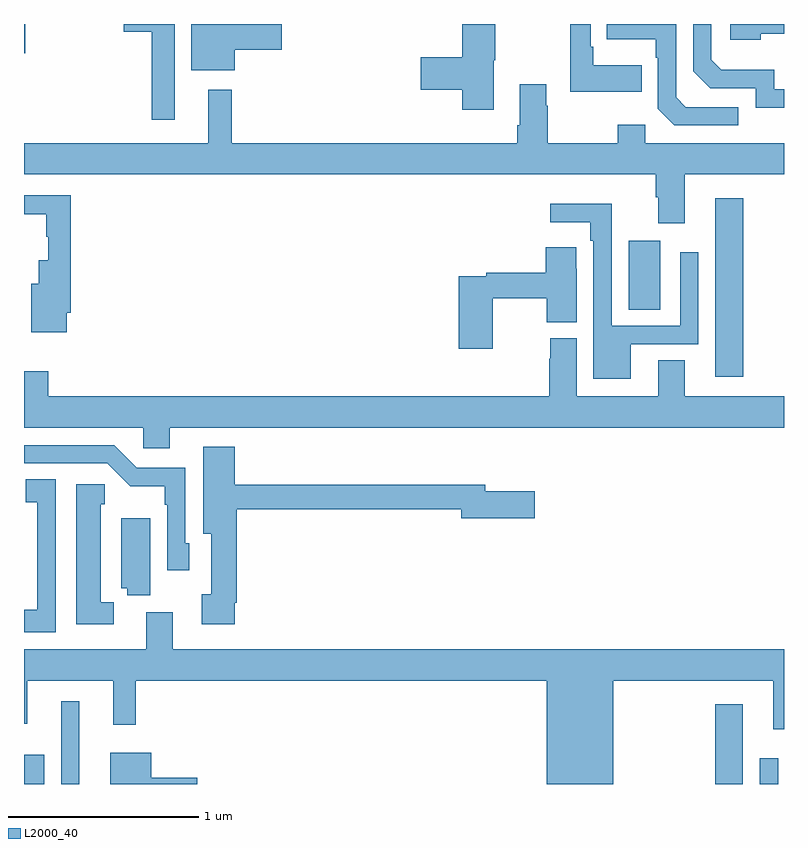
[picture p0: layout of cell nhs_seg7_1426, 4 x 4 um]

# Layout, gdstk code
import gdstk
lib = gdstk.Library(unit=1e-6, precision=1e-09)
def R(c, l, rs):  # rectangles x0, y0, x1, y1
    for r in rs: c.add(gdstk.rectangle(r[:2], r[2:], *l))
def P(c, l, *ps):  # polygons
    for p in ps: c.add(gdstk.Polygon(p, *l))
L2000_40 = (2000, 40)

nhs_seg7_1426 = lib.new_cell('nhs_seg7_1426')
R(nhs_seg7_1426, L2000_40, [(207,1072,207.106,1072.153), (207.195,1072,207.292,1072.435), (210.638,1072,210.784,1072.42), (210.873,1072,210.969,1072.135), (210.638,1074.144,210.785,1075.084), (210.182,1074.496,210.349,1074.859), (207,1075.846,207.007,1076)])
P(nhs_seg7_1426, L2000_40, [(208.108,1075.864),(208.357,1075.864),(208.357,1076),(207.881,1076),(207.881,1075.757),(208.108,1075.757)],
  [(207.793,1076),(207.524,1076),(207.524,1075.958),(207.672,1075.958),(207.672,1075.497),(207.793,1075.497)],
  [(211,1075.656),(210.948,1075.656),(210.948,1075.759),(210.671,1075.759),(210.618,1075.812),(210.618,1076),(210.522,1076),(210.522,1075.752),(210.612,1075.662),(210.852,1075.662),(210.852,1075.56),(211,1075.56)],
  [(210.878,1075.95),(211,1075.95),(211,1076),(210.717,1076),(210.717,1075.916),(210.878,1075.916)],
  [(210.251,1075.783),(209.995,1075.783),(209.995,1075.879),(209.982,1075.879),(209.982,1076),(209.874,1076),(209.874,1075.643),(210.251,1075.643)],
  [(210.76,1075.563),(210.483,1075.563),(210.432,1075.614),(210.432,1076),(210.067,1076),(210.067,1075.919),(210.324,1075.919),(210.324,1075.823),(210.336,1075.823),(210.336,1075.554),(210.423,1075.467),(210.76,1075.467)],
  [(209.473,1075.809),(209.481,1075.809),(209.481,1076),(209.306,1076),(209.306,1075.826),(209.088,1075.826),(209.088,1075.655),(209.306,1075.655),(209.306,1075.548),(209.473,1075.548)],
  [(210.478,1075.208),(211,1075.208),(211,1075.372),(210.27,1075.372),(210.27,1075.471),(210.124,1075.471),(210.124,1075.372),(209.757,1075.372),(209.757,1075.571),(209.749,1075.571),(209.749,1075.684),(209.609,1075.684),(209.609,1075.468),(209.597,1075.468),(209.597,1075.372),(208.093,1075.372),(208.093,1075.654),(207.971,1075.654),(207.971,1075.372),(207,1075.372),(207,1075.208),(210.326,1075.208),(210.326,1075.088),(210.338,1075.088),(210.338,1074.951),(210.478,1074.951)],
  [(207.226,1074.481),(207.245,1074.481),(207.245,1075.098),(207,1075.098),(207,1075),(207.117,1075),(207.117,1074.879),(207.128,1074.879),(207.128,1074.757),(207.077,1074.757),(207.077,1074.634),(207.038,1074.634),(207.038,1074.377),(207.226,1074.377)],
  [(210.193,1074.315),(210.549,1074.315),(210.549,1074.799),(210.453,1074.799),(210.453,1074.411),(210.093,1074.411),(210.093,1075.054),(209.769,1075.054),(209.769,1074.956),(209.981,1074.956),(209.981,1074.86),(209.997,1074.86),(209.997,1074.134),(210.193,1074.134)],
  [(209.466,1074.556),(209.752,1074.556),(209.752,1074.43),(209.908,1074.43),(209.908,1074.713),(209.907,1074.713),(209.907,1074.826),(209.747,1074.826),(209.747,1074.692),(209.434,1074.692),(209.434,1074.672),(209.288,1074.672),(209.288,1074.291),(209.466,1074.291)],
  [(207.766,1073.876),(211,1073.876),(211,1074.04),(210.478,1074.04),(210.478,1074.23),(210.338,1074.23),(210.338,1074.04),(209.908,1074.04),(209.908,1074.345),(209.77,1074.345),(209.77,1074.239),(209.765,1074.239),(209.765,1074.04),(207.128,1074.04),(207.128,1074.172),(207,1074.172),(207,1073.876),(207.627,1073.876),(207.627,1073.766),(207.766,1073.766)],
  [(207.87,1073.268),(207.849,1073.268),(207.849,1073.664),(207.594,1073.664),(207.474,1073.784),(207,1073.784),(207,1073.688),(207.438,1073.688),(207.559,1073.567),(207.741,1073.567),(207.741,1073.471),(207.753,1073.471),(207.753,1073.124),(207.87,1073.124)],
  [(208.108,1072.954),(208.121,1072.954),(208.121,1073.446),(209.3,1073.446),(209.3,1073.399),(209.689,1073.399),(209.689,1073.541),(209.428,1073.541),(209.428,1073.575),(208.108,1073.575),(208.108,1073.776),(207.944,1073.776),(207.944,1073.318),(207.986,1073.318),(207.986,1072.998),(207.936,1072.998),(207.936,1072.842),(208.108,1072.842)],
  [(207.168,1073.603),(207.009,1073.603),(207.009,1073.483),(207.07,1073.483),(207.07,1073.179),(207.071,1073.179),(207.071,1072.916),(207,1072.916),(207,1072.8),(207.168,1072.8)],
  [(207.472,1072.956),(207.403,1072.956),(207.403,1073.472),(207.425,1073.472),(207.425,1073.578),(207.275,1073.578),(207.275,1072.841),(207.472,1072.841)],
  [(207.664,1073.398),(207.512,1073.398),(207.512,1073.03),(207.544,1073.03),(207.544,1072.993),(207.664,1072.993)],
  [(207.784,1072.903),(207.644,1072.903),(207.644,1072.708),(207,1072.708),(207,1072.316),(207.017,1072.316),(207.017,1072.544),(207.47,1072.544),(207.47,1072.311),(207.587,1072.311),(207.587,1072.544),(209.75,1072.544),(209.75,1072),(210.1,1072),(210.1,1072.544),(210.944,1072.544),(210.944,1072.287),(211,1072.287),(211,1072.708),(207.784,1072.708)],
  [(207.913,1072.034),(207.67,1072.034),(207.67,1072.165),(207.455,1072.165),(207.455,1072),(207.913,1072)])

lib.write_gds('nhs_seg7_1426.gds')
